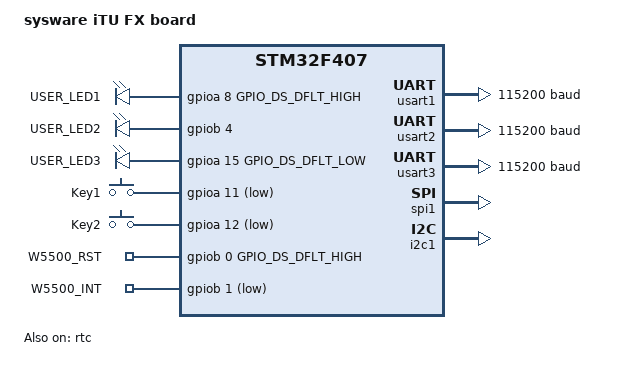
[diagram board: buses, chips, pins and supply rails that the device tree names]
/*
 * Copyright (c) 2017, embedjournal.com
 *
 * SPDX-License-Identifier: Apache-2.0
 */

/dts-v1/;
#include <st/f4/stm32f407Xg.dtsi>

/ {
	model = "sysware iTU FX board";
	compatible = "st,itu_fx", "st,stm32f407";

	chosen {
		zephyr,console = &usart1;
		zephyr,shell-uart = &usart1;
		zephyr,sram = &sram0;
		zephyr,flash = &flash0;
		zephyr,ccm = &ccm0;
	};

	leds {
		compatible = "gpio-leds";
		led_1: led_1 {
			gpios = <&gpioa 8 GPIO_DS_DFLT_HIGH>;
			label = "USER_LED1";
		};
		led_2: led_2 {
			gpios = <&gpiob 4 GPIO_INT_ACTIVE_HIGH>;
			label = "USER_LED2";
		};
		led_3: led_3 {
			gpios = <&gpioa 15 GPIO_DS_DFLT_LOW>;
			label = "USER_LED3";
		};
	};
	
	gpio_keys {
		compatible = "gpio-keys";
		button_1: button_1 {
			label = "Key1";
			gpios = <&gpioa 11 GPIO_INT_ACTIVE_LOW>;
		};
		button_2: button_2 {
			label = "Key2";
			gpios = <&gpioa 12 GPIO_INT_ACTIVE_LOW>;
		};
		w5500_rst: w5500_rst {
			label = "W5500_RST";
			gpios = <&gpiob 0 GPIO_DS_DFLT_HIGH>;
		};
		w5500_int: w5500_int {
			label = "W5500_INT";
			gpios = <&gpiob 1 GPIO_INT_ACTIVE_LOW>;
		};
		/* move this to property of spi node;
		w5500_cs: w5500_cs {
			label = "W5500_CS";
			gpios = <&gpioa 4 GPIO_INT_ACTIVE_LOW>;
		};
		*/
	};

	aliases {
		led0 = &led_1;
		led1 = &led_2;
		led2 = &led_3;
		sw1 = &button_1;
		sw2 = &button_2;
	};
};

&usart1 {
	current-speed = <115200>;
	pinctrl-0 = <&usart1_pins_a>;
	pinctrl-names = "default";
	/* label = "UART_CONSOLE"; */
	status = "ok";
};

&usart2 {
	current-speed = <115200>;
	pinctrl-0 = <&usart2_pins_a>;
	pinctrl-names = "default";
	/* label = "UART_RS485"; */
	status = "ok";
};

&usart3 {
	current-speed = <115200>;
	pinctrl-0 = <&usart3_pins_a>;
	pinctrl-names = "default";
	/* label = "UART_POWERBUS"; */
	status = "ok";
};

&rtc {
	status = "ok";
};

&spi1 {
	cs-gpios = <&gpioa 4 0>;
	status = "ok";
};

&i2c1 {
	status = "ok";
};

/*
&flash0 {
	partitions {
		compatible = "fixed-partitions";
		#address-cells = <1>;
		#size-cells = <1>;

		boot_partition: partition@0 {
			label = "mcuboot";
			reg = <0x000000000 0x0000C000>;
		};
		slot0_partition: partition@c000 {
			label = "image-0";
			reg = <0x0000C000 0x000069000>;
		};
		slot1_partition: partition@75000 {
			label = "image-1";
			reg = <0x00075000 0x000069000>;
		};
		scratch_partition: partition@de000 {
			label = "image-scratch";
			reg = <0x000de000 0x0001e000>;
		};

#if defined(CONFIG_FS_FLASH_STORAGE_PARTITION)
		storage_partition: partition@fc000 {
			label = "storage";
			reg = <0x000fc000 0x00001000>;
		};
#endif
	};
};
*/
